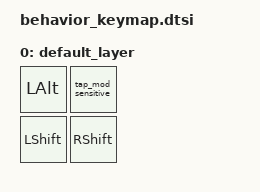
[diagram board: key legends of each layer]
/ {
    behaviors {
        tap_mod_sensitive: tap_mod_sensitive {
            compatible = "zmk,behavior-tap-mod-sensitive";
            // tap shift hold
            bindings = <
                &kp A
                &kp B
                &kp C
            >;
        };
    };

    keymap {
        compatible = "zmk,keymap";

        default_layer {
            bindings = <
                &kp LEFT_ALT &tap_mod_sensitive
                &kp LEFT_SHIFT &kp RIGHT_SHIFT
            >;
        };
    };
};
